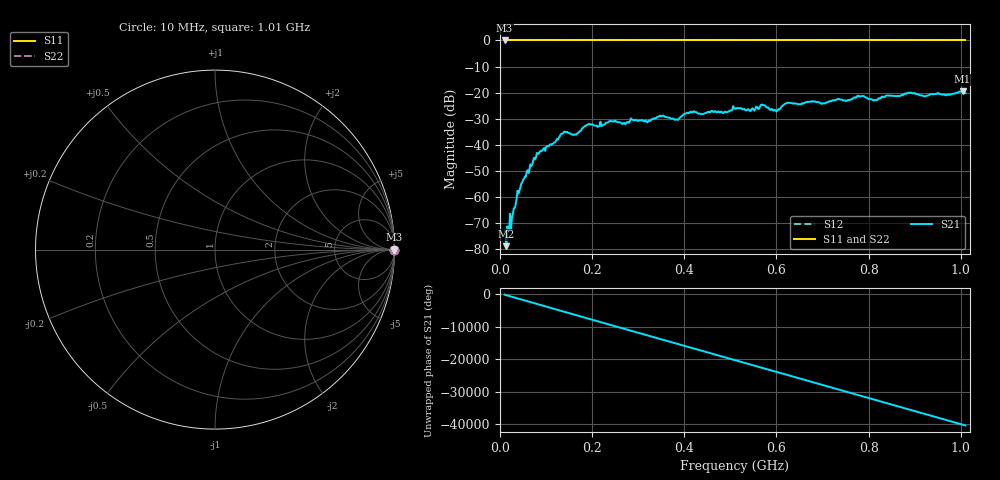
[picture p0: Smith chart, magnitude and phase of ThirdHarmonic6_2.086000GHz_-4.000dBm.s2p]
! 8/17/2025 12:58:09 AM
! C:\ANRITSUVNA\TEMP\TEMP.S2P
! CHANNEL.1
! TR.MEASUREMENT
! RAW.DATA
! RF.CORRECTION.OFF
! AVERAGING.OFF
! IF.BANDWIDTH: 5KHZ
! SWEEPTYPE:  FREQ.SWEEP(Linear)
! Reference Plane Port Info
! PORT:  PORT1  PORT2
! DISTANCE:  0  m  0  m
! TIME:  0  s  0  s
! PHASE.OFFSET:  0  deg.  0  deg.
! LOSS:  0  dB  0  dB
! REF.LOSS:  0  dB  0  dB
! REF.FREQ:  0  Hz  0  Hz
! Power Info
! POWER:  -20  dBm  -20  dBm
! EFF.POWER:  -20  dBm  -20  dBm
! SOURCE.ATTEN:  0  dB  0  dB
! TEST.ATTEN:  0  dB  0  dB
# GHZ S RI R 50.0
! FREQ.GHZ  S11RE  S11IM  S21RE  S21IM  S12RE  S12IM  S22RE  S22IM
!; PortSelection: Port_12
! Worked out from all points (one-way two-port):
!   501 points, 10 MHz to 1.01 GHz, reference 50 ohm
!   highest |S21| = -19.39 dB at 1.004 GHz (marker M1); lowest = -78.7 dB at 14 MHz (marker M2)
!   lowest |S11| = 0.0 dB at 10 MHz (marker M3)
!   |S11| at or under -10 dB: nowhere
!   |S22| runs from 0.0 to 0.0 dB; largest |S21 - S12| = 1.1
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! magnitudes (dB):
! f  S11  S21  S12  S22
! 10 MHz  0.0  -72.8  0.0  0.0
! 14 MHz  0.0  -78.7  0.0  0.0
! 28 MHz  0.0  -66.4  0.0  0.0
! 42 MHz  0.0  -57.6  0.0  0.0
! 78 MHz  0.0  -44.8  0.0  0.0
! 136 MHz  0.0  -35.7  0.0  0.0
! 162 MHz  0.0  -36.0  0.0  0.0
! 178 MHz  0.0  -33.7  0.0  0.0
! 344 MHz  0.0  -29.2  0.0  0.0
! 384 MHz  0.0  -30.2  0.0  0.0
! 416 MHz  0.0  -27.5  0.0  0.0
! 510 MHz  0.0  -26.0  0.0  0.0
! 548 MHz  0.0  -25.9  0.0  0.0
! 570 MHz  0.0  -24.6  0.0  0.0
! 598 MHz  0.0  -26.7  0.0  0.0
! 624 MHz  0.0  -23.8  0.0  0.0
! 678 MHz  0.0  -23.2  0.0  0.0
! 780 MHz  0.0  -21.4  0.0  0.0
! 814 MHz  0.0  -22.7  0.0  0.0
! 844 MHz  0.0  -21.1  0.0  0.0
! 1.004 GHz  0.0  -19.4  0.0  0.0
! 1.01 GHz  0.0  -20.1  0.0  0.0
